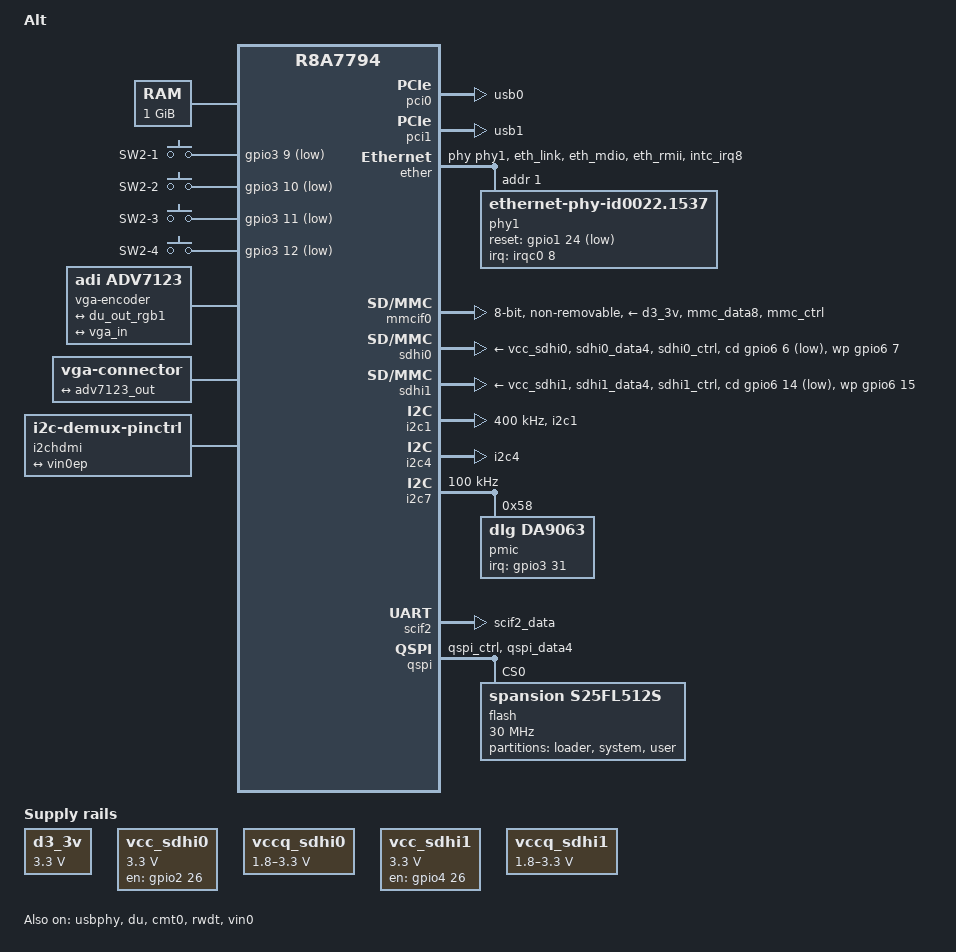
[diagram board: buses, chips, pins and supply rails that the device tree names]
// SPDX-License-Identifier: GPL-2.0
/*
 * Device Tree Source for the Alt board
 *
 * Copyright (C) 2014 Renesas Electronics Corporation
 */

/dts-v1/;
#include "r8a7794.dtsi"
#include <dt-bindings/gpio/gpio.h>
#include <dt-bindings/input/input.h>

/ {
	model = "Alt";
	compatible = "renesas,alt", "renesas,r8a7794";

	aliases {
		serial0 = &scif2;
		i2c9 = &gpioi2c1;
		i2c10 = &gpioi2c4;
		i2c11 = &i2chdmi;
		i2c12 = &i2cexio4;
		mmc0 = &mmcif0;
		mmc1 = &sdhi0;
		mmc2 = &sdhi1;
	};

	chosen {
		bootargs = "ignore_loglevel rw root=/dev/nfs ip=on";
		stdout-path = "serial0:115200n8";
	};

	memory@40000000 {
		device_type = "memory";
		reg = <0 0x40000000 0 0x40000000>;
	};

	d3_3v: regulator-d3-3v {
		compatible = "regulator-fixed";
		regulator-name = "D3.3V";
		regulator-min-microvolt = <3300000>;
		regulator-max-microvolt = <3300000>;
		regulator-boot-on;
		regulator-always-on;
	};

	vcc_sdhi0: regulator-vcc-sdhi0 {
		compatible = "regulator-fixed";

		regulator-name = "SDHI0 Vcc";
		regulator-min-microvolt = <3300000>;
		regulator-max-microvolt = <3300000>;

		gpio = <&gpio2 26 GPIO_ACTIVE_HIGH>;
		enable-active-high;
	};

	vccq_sdhi0: regulator-vccq-sdhi0 {
		compatible = "regulator-gpio";

		regulator-name = "SDHI0 VccQ";
		regulator-min-microvolt = <1800000>;
		regulator-max-microvolt = <3300000>;

		gpios = <&gpio2 29 GPIO_ACTIVE_HIGH>;
		gpios-states = <1>;
		states = <3300000 1>, <1800000 0>;
	};

	vcc_sdhi1: regulator-vcc-sdhi1 {
		compatible = "regulator-fixed";

		regulator-name = "SDHI1 Vcc";
		regulator-min-microvolt = <3300000>;
		regulator-max-microvolt = <3300000>;

		gpio = <&gpio4 26 GPIO_ACTIVE_HIGH>;
		enable-active-high;
	};

	vccq_sdhi1: regulator-vccq-sdhi1 {
		compatible = "regulator-gpio";

		regulator-name = "SDHI1 VccQ";
		regulator-min-microvolt = <1800000>;
		regulator-max-microvolt = <3300000>;

		gpios = <&gpio4 29 GPIO_ACTIVE_HIGH>;
		gpios-states = <1>;
		states = <3300000 1>, <1800000 0>;
	};

	lbsc {
		#address-cells = <1>;
		#size-cells = <1>;
	};

	keyboard {
		compatible = "gpio-keys";

		pinctrl-0 = <&keyboard_pins>;
		pinctrl-names = "default";

		one {
			linux,code = <KEY_1>;
			label = "SW2-1";
			wakeup-source;
			debounce-interval = <20>;
			gpios = <&gpio3 9 GPIO_ACTIVE_LOW>;
		};
		two {
			linux,code = <KEY_2>;
			label = "SW2-2";
			wakeup-source;
			debounce-interval = <20>;
			gpios = <&gpio3 10 GPIO_ACTIVE_LOW>;
		};
		three {
			linux,code = <KEY_3>;
			label = "SW2-3";
			wakeup-source;
			debounce-interval = <20>;
			gpios = <&gpio3 11 GPIO_ACTIVE_LOW>;
		};
		four {
			linux,code = <KEY_4>;
			label = "SW2-4";
			wakeup-source;
			debounce-interval = <20>;
			gpios = <&gpio3 12 GPIO_ACTIVE_LOW>;
		};
	};

	vga-encoder {
		compatible = "adi,adv7123";

		ports {
			#address-cells = <1>;
			#size-cells = <0>;

			port@0 {
				reg = <0>;
				adv7123_in: endpoint {
					remote-endpoint = <&du_out_rgb1>;
				};
			};
			port@1 {
				reg = <1>;
				adv7123_out: endpoint {
					remote-endpoint = <&vga_in>;
				};
			};
		};
	};

	vga {
		compatible = "vga-connector";

		port {
			vga_in: endpoint {
				remote-endpoint = <&adv7123_out>;
			};
		};
	};

	x2_clk: x2-clock {
		compatible = "fixed-clock";
		#clock-cells = <0>;
		clock-frequency = <74250000>;
	};

	x13_clk: x13-clock {
		compatible = "fixed-clock";
		#clock-cells = <0>;
		clock-frequency = <148500000>;
	};

	gpioi2c1: i2c-9 {
		#address-cells = <1>;
		#size-cells = <0>;
		compatible = "i2c-gpio";
		status = "disabled";
		scl-gpios = <&gpio4 0 (GPIO_ACTIVE_HIGH | GPIO_OPEN_DRAIN)>;
		sda-gpios = <&gpio4 1 (GPIO_ACTIVE_HIGH | GPIO_OPEN_DRAIN)>;
	};

	gpioi2c4: i2c-10 {
		#address-cells = <1>;
		#size-cells = <0>;
		compatible = "i2c-gpio";
		status = "disabled";
		scl-gpios = <&gpio4 8 (GPIO_ACTIVE_HIGH | GPIO_OPEN_DRAIN)>;
		sda-gpios = <&gpio4 9 (GPIO_ACTIVE_HIGH | GPIO_OPEN_DRAIN)>;
		i2c-gpio,delay-us = <5>;
	};

	/*
	 * A fallback to GPIO is provided for I2C1.
	 */
	i2chdmi: i2c-11 {
		compatible = "i2c-demux-pinctrl";
		i2c-parent = <&i2c1>, <&gpioi2c1>;
		i2c-bus-name = "i2c-hdmi";
		#address-cells = <1>;
		#size-cells = <0>;

		composite-in@20 {
			compatible = "adi,adv7180";
			reg = <0x20>;

			port {
				adv7180: endpoint {
					bus-width = <8>;
					remote-endpoint = <&vin0ep>;
				};
			};
		};

		eeprom@50 {
			compatible = "renesas,r1ex24002", "atmel,24c02";
			reg = <0x50>;
			pagesize = <16>;
		};
	};

	/*
	 * I2C4 is routed to EXIO connector B, pins 73 (SCL) + 74 (SDA).
	 * A fallback to GPIO is provided.
	 */
	i2cexio4: i2c-14 {
		compatible = "i2c-demux-pinctrl";
		i2c-parent = <&i2c4>, <&gpioi2c4>;
		i2c-bus-name = "i2c-exio4";
		#address-cells = <1>;
		#size-cells = <0>;
	};
};

&pci0 {
	status = "okay";
	pinctrl-0 = <&usb0_pins>;
	pinctrl-names = "default";
};

&pci1 {
	status = "okay";
	pinctrl-0 = <&usb1_pins>;
	pinctrl-names = "default";
};

&usbphy {
	status = "okay";
};

&du {
	pinctrl-0 = <&du_pins>;
	pinctrl-names = "default";
	status = "okay";

	clocks = <&cpg CPG_MOD 724>, <&cpg CPG_MOD 723>,
		 <&x13_clk>, <&x2_clk>;
	clock-names = "du.0", "du.1", "dclkin.0", "dclkin.1";

	ports {
		port@1 {
			endpoint {
				remote-endpoint = <&adv7123_in>;
			};
		};
	};
};

&extal_clk {
	clock-frequency = <20000000>;
};

&pfc {
	pinctrl-0 = <&scif_clk_pins>;
	pinctrl-names = "default";

	du_pins: du {
		groups = "du1_rgb666", "du1_sync", "du1_disp", "du1_clk0_out";
		function = "du1";
	};

	scif2_pins: scif2 {
		groups = "scif2_data";
		function = "scif2";
	};

	scif_clk_pins: scif_clk {
		groups = "scif_clk";
		function = "scif_clk";
	};

	ether_pins: ether {
		groups = "eth_link", "eth_mdio", "eth_rmii";
		function = "eth";
	};

	phy1_pins: phy1 {
		groups = "intc_irq8";
		function = "intc";
	};

	i2c1_pins: i2c1 {
		groups = "i2c1";
		function = "i2c1";
	};

	i2c4_pins: i2c4 {
		groups = "i2c4";
		function = "i2c4";
	};

	vin0_pins: vin0 {
		groups = "vin0_data8", "vin0_clk";
		function = "vin0";
	};

	mmcif0_pins: mmcif0 {
		groups = "mmc_data8", "mmc_ctrl";
		function = "mmc";
	};

	sdhi0_pins: sd0 {
		groups = "sdhi0_data4", "sdhi0_ctrl";
		function = "sdhi0";
		power-source = <3300>;
	};

	sdhi0_pins_uhs: sd0_uhs {
		groups = "sdhi0_data4", "sdhi0_ctrl";
		function = "sdhi0";
		power-source = <1800>;
	};

	sdhi1_pins: sd1 {
		groups = "sdhi1_data4", "sdhi1_ctrl";
		function = "sdhi1";
		power-source = <3300>;
	};

	sdhi1_pins_uhs: sd1_uhs {
		groups = "sdhi1_data4", "sdhi1_ctrl";
		function = "sdhi1";
		power-source = <1800>;
	};

	usb0_pins: usb0 {
		groups = "usb0";
		function = "usb0";
	};

	usb1_pins: usb1 {
		groups = "usb1";
		function = "usb1";
	};

	keyboard_pins: keyboard {
		pins = "GP_3_9", "GP_3_10", "GP_3_11", "GP_3_12";
		bias-pull-up;
	};
};

&cmt0 {
	status = "okay";
};

&pfc {
	qspi_pins: qspi {
		groups = "qspi_ctrl", "qspi_data4";
		function = "qspi";
	};
};

&ether {
	pinctrl-0 = <&ether_pins>, <&phy1_pins>;
	pinctrl-names = "default";

	phy-handle = <&phy1>;
	renesas,ether-link-active-low;
	status = "okay";

	phy1: ethernet-phy@1 {
		compatible = "ethernet-phy-id0022.1537",
			     "ethernet-phy-ieee802.3-c22";
		reg = <1>;
		interrupt-parent = <&irqc0>;
		interrupts = <8 IRQ_TYPE_LEVEL_LOW>;
		micrel,led-mode = <1>;
		reset-gpios = <&gpio1 24 GPIO_ACTIVE_LOW>;
	};
};

&mmcif0 {
	pinctrl-0 = <&mmcif0_pins>;
	pinctrl-names = "default";

	vmmc-supply = <&d3_3v>;
	vqmmc-supply = <&d3_3v>;
	bus-width = <8>;
	non-removable;
	status = "okay";
};

&rwdt {
	timeout-sec = <60>;
	status = "okay";
};

&sdhi0 {
	pinctrl-0 = <&sdhi0_pins>;
	pinctrl-1 = <&sdhi0_pins_uhs>;
	pinctrl-names = "default", "state_uhs";

	vmmc-supply = <&vcc_sdhi0>;
	vqmmc-supply = <&vccq_sdhi0>;
	cd-gpios = <&gpio6 6 GPIO_ACTIVE_LOW>;
	wp-gpios = <&gpio6 7 GPIO_ACTIVE_HIGH>;
	sd-uhs-sdr50;
	sd-uhs-sdr104;
	status = "okay";
};

&sdhi1 {
	pinctrl-0 = <&sdhi1_pins>;
	pinctrl-1 = <&sdhi1_pins_uhs>;
	pinctrl-names = "default", "state_uhs";

	vmmc-supply = <&vcc_sdhi1>;
	vqmmc-supply = <&vccq_sdhi1>;
	cd-gpios = <&gpio6 14 GPIO_ACTIVE_LOW>;
	wp-gpios = <&gpio6 15 GPIO_ACTIVE_HIGH>;
	sd-uhs-sdr50;
	status = "okay";
};

&i2c1 {
	pinctrl-0 = <&i2c1_pins>;
	pinctrl-names = "i2c-hdmi";

	clock-frequency = <400000>;
};

&i2c4 {
	pinctrl-0 = <&i2c4_pins>;
	pinctrl-names = "i2c-exio4";
};

&i2c7 {
	status = "okay";
	clock-frequency = <100000>;

	pmic@58 {
		compatible = "dlg,da9063";
		reg = <0x58>;
		interrupt-parent = <&gpio3>;
		interrupts = <31 IRQ_TYPE_LEVEL_LOW>;
		interrupt-controller;

		rtc {
			compatible = "dlg,da9063-rtc";
		};

		watchdog {
			compatible = "dlg,da9063-watchdog";
		};
	};
};

&vin0 {
	status = "okay";
	pinctrl-0 = <&vin0_pins>;
	pinctrl-names = "default";

	port {
		vin0ep: endpoint {
			remote-endpoint = <&adv7180>;
			bus-width = <8>;
		};
	};
};

&scif2 {
	pinctrl-0 = <&scif2_pins>;
	pinctrl-names = "default";

	status = "okay";
};

&scif_clk {
	clock-frequency = <14745600>;
};

&qspi {
	pinctrl-0 = <&qspi_pins>;
	pinctrl-names = "default";

	status = "okay";

	flash@0 {
		compatible = "spansion,s25fl512s", "jedec,spi-nor";
		reg = <0>;
		spi-max-frequency = <30000000>;
		spi-tx-bus-width = <4>;
		spi-rx-bus-width = <4>;
		spi-cpol;
		spi-cpha;
		m25p,fast-read;

		partitions {
			compatible = "fixed-partitions";
			#address-cells = <1>;
			#size-cells = <1>;

			partition@0 {
				label = "loader";
				reg = <0x00000000 0x00040000>;
				read-only;
			};
			partition@40000 {
				label = "system";
				reg = <0x00040000 0x00040000>;
				read-only;
			};
			partition@80000 {
				label = "user";
				reg = <0x00080000 0x03f80000>;
			};
		};
	};
};
